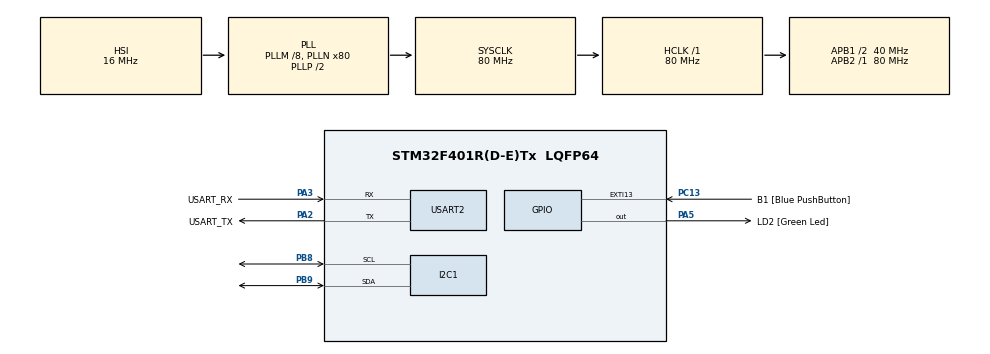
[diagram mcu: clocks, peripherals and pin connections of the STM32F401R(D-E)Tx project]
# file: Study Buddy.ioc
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Mcu.Family=STM32F4
Mcu.Name=STM32F401R(D-E)Tx
Mcu.Package=LQFP64
NVIC.PriorityGroup=NVIC_PRIORITYGROUP_0
NVIC.RTC_Alarm_IRQn=true\:0\:0\:false\:false\:true\:true\:true\:true
PA13.GPIO_Label=TMS
PA13.Mode=Serial_Wire
PA13.Signal=SYS_JTMS-SWDIO
PA14.GPIO_Label=TCK
PA14.Mode=Serial_Wire
PA14.Signal=SYS_JTCK-SWCLK
PA2.GPIO_Label=USART_TX
PA2.GPIO_Mode=GPIO_MODE_AF_PP
PA2.GPIO_PuPd=GPIO_NOPULL
PA2.GPIO_Speed=GPIO_SPEED_FREQ_LOW
PA2.Mode=Asynchronous
PA2.Signal=USART2_TX
PA3.GPIO_Label=USART_RX
PA3.GPIO_Mode=GPIO_MODE_AF_PP
PA3.GPIO_PuPd=GPIO_NOPULL
PA3.GPIO_Speed=GPIO_SPEED_FREQ_LOW
PA3.Mode=Asynchronous
PA3.Signal=USART2_RX
PA5.GPIO_Label=LD2 [Green Led]
PA5.GPIO_Mode=GPIO_MODE_OUTPUT_PP
PA5.GPIO_PuPd=GPIO_NOPULL
PA5.GPIO_Speed=GPIO_SPEED_FREQ_LOW
PA5.Signal=GPIO_Output
PB3.GPIO_Label=SWO
PB3.Signal=SYS_JTDO-SWO
PB8.Mode=I2C
PB8.Signal=I2C1_SCL
PB9.Mode=I2C
PB9.Signal=I2C1_SDA
PC13-ANTI_TAMP.GPIO_Label=B1 [Blue PushButton]
PC13-ANTI_TAMP.GPIO_ModeDefaultEXTI=GPIO_MODE_IT_FALLING
PC13-ANTI_TAMP.GPIO_PuPd=GPIO_NOPULL
PC13-ANTI_TAMP.Signal=GPXTI13
PC14-OSC32_IN.Mode=LSE-External-Oscillator
PC14-OSC32_IN.Signal=RCC_OSC32_IN
PC15-OSC32_OUT.Mode=LSE-External-Oscillator
PC15-OSC32_OUT.Signal=RCC_OSC32_OUT
PH0\ -\ OSC_IN.Mode=HSE-External-Oscillator
PH0\ -\ OSC_IN.Signal=RCC_OSC_IN
PH1\ -\ OSC_OUT.Mode=HSE-External-Oscillator
PH1\ -\ OSC_OUT.Signal=RCC_OSC_OUT
ProjectManager.HeapSize=0x200
ProjectManager.StackSize=0x400
ProjectManager.TargetToolchain=STM32CubeIDE
RCC.48MHZClocksFreq_Value=22857142.85714286
RCC.AHBFreq_Value=80000000
RCC.APB1CLKDivider=RCC_HCLK_DIV2
RCC.APB1Freq_Value=40000000
RCC.APB1TimFreq_Value=80000000
RCC.APB2Freq_Value=80000000
RCC.APB2TimFreq_Value=80000000
RCC.CortexFreq_Value=80000000
RCC.HCLKFreq_Value=80000000
RCC.HSE_VALUE=8000000
RCC.HSI_VALUE=16000000
RCC.PLLM=8
RCC.PLLN=80
RCC.PLLQ=7
RCC.SYSCLKFreq_VALUE=80000000
RCC.SYSCLKSource=RCC_SYSCLKSOURCE_PLLCLK
RCC.VCOOutputFreq_Value=160000000
RTC.Alarm=RTC_ALARM_A
RTC.Seconds_A=1
USART2.VirtualMode=VM_ASYNC
VP_RTC_VS_RTC_Activate.Mode=RTC_Enabled
VP_RTC_VS_RTC_Alarm_A_Intern.Mode=Alarm A
VP_RTC_VS_RTC_Calendar.Mode=RTC_Calendar
board=NUCLEO-F401RE

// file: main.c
/* USER CODE BEGIN Header */
/**
  ******************************************************************************
  * @file           : main.c
  * @brief          : Main program body
  ******************************************************************************
  * @attention
  *
  * Copyright (c) 2024 STMicroelectronics.
  * All rights reserved.
  *
  * This software is licensed under terms that can be found in the LICENSE file
  * in the root directory of this software component.
  * If no LICENSE file comes with this software, it is provided AS-IS.
  *
  ******************************************************************************
  */
/* USER CODE END Header */
#include "main.h"

/* USER CODE BEGIN Includes */
#include <string.h>
#include <stdio.h>
#include "stdio.h"
//#include "liquidcrystal_i2c.h"
#include "i2c-lcd.h"

/* USER CODE END Includes */

I2C_HandleTypeDef hi2c1;

RTC_HandleTypeDef hrtc;

UART_HandleTypeDef huart2;

/* USER CODE BEGIN PV */
char msg[20];

/* USER CODE END PV */

void SystemClock_Config(void);
static void MX_GPIO_Init(void);
static void MX_USART2_UART_Init(void);
static void MX_RTC_Init(void);
static void MX_I2C1_Init(void);

int main(void)
{

  /* MCU Configuration--------------------------------------------------------*/

  /* Reset of all peripherals, Initializes the Flash interface and the Systick. */
  HAL_Init();

  /* Configure the system clock */
  SystemClock_Config();

  /* Initialize all configured peripherals */
  MX_GPIO_Init();
  MX_USART2_UART_Init();
  MX_RTC_Init();
  MX_I2C1_Init();
  /* USER CODE BEGIN 2 */

//  LCD_Init(); // initialize LCD
//  LCD_Command(0x80);
//  LCD_Print("Hello, World");

//  setRTCAlarm(&hrtc, 15, 0, 0); // sets alarm

//  HD44780_Init(2);
//    HD44780_Clear();
//    HD44780_SetCursor(0,0);
//    HD44780_PrintStr("HELLO");
//    HD44780_SetCursor(10,1);
//    HD44780_PrintStr("WORLD");
//    HAL_Delay(2000);
//
//    HD44780_Clear();
//    HD44780_SetCursor(0,0);
//    HD44780_PrintStr("HELLO");
//    HAL_Delay(2000);
//    HD44780_NoBacklight();
//    HAL_Delay(2000);
//    HD44780_Backlight();
//
//    HAL_Delay(2000);
//    HD44780_Cursor();
//    HAL_Delay(2000);
//    HD44780_Blink();
//    HAL_Delay(5000);
//    HD44780_NoBlink();
//    HAL_Delay(2000);
//    HD44780_NoCursor();
//    HAL_Delay(2000);
//
//    HD44780_NoDisplay();
//    HAL_Delay(2000);
//    HD44780_Display();
//
//    HD44780_Clear();
//    HD44780_SetCursor(0,0);
//    HD44780_PrintStr("Learning STM32 with LCD is fun :-)");
//
//    for(int x=0; x<40; x=x+1)
//    {
//      HD44780_ScrollDisplayLeft();  //HD44780_ScrollDisplayRight();
//      HAL_Delay(500);
//    }
//
//    char snum[5];
//    for ( int x = 1; x <= 200 ; x++ )
//    {
//    	sprintf(snum,"%d", x);
//    	HD44780_Clear();
//    	HD44780_SetCursor(0,0);
//    	HD44780_PrintStr(snum);
//    	HAL_Delay (1000);
//    }

  /* USER CODE END 2 */

  /* Infinite loop */
  /* USER CODE BEGIN WHILE */
  while (1)
  {
	  printCurrentTime();
    /* USER CODE END WHILE */

  }
}

void SystemClock_Config(void)
{
  RCC_OscInitTypeDef RCC_OscInitStruct = {0};
  RCC_ClkInitTypeDef RCC_ClkInitStruct = {0};

  /** Configure the main internal regulator output voltage
  */
  __HAL_RCC_PWR_CLK_ENABLE();
  __HAL_PWR_VOLTAGESCALING_CONFIG(PWR_REGULATOR_VOLTAGE_SCALE2);

  /** Initializes the RCC Oscillators according to the specified parameters
  * in the RCC_OscInitTypeDef structure.
  */
  RCC_OscInitStruct.OscillatorType = RCC_OSCILLATORTYPE_HSI|RCC_OSCILLATORTYPE_LSI;
  RCC_OscInitStruct.HSIState = RCC_HSI_ON;
  RCC_OscInitStruct.HSICalibrationValue = RCC_HSICALIBRATION_DEFAULT;
  RCC_OscInitStruct.LSIState = RCC_LSI_ON;
  RCC_OscInitStruct.PLL.PLLState = RCC_PLL_ON;
  RCC_OscInitStruct.PLL.PLLSource = RCC_PLLSOURCE_HSI;
  RCC_OscInitStruct.PLL.PLLM = 8;
  RCC_OscInitStruct.PLL.PLLN = 80;
  RCC_OscInitStruct.PLL.PLLP = RCC_PLLP_DIV2;
  RCC_OscInitStruct.PLL.PLLQ = 7;
  if (HAL_RCC_OscConfig(&RCC_OscInitStruct) != HAL_OK)
  {
    Error_Handler();
  }

  /** Initializes the CPU, AHB and APB buses clocks
  */
  RCC_ClkInitStruct.ClockType = RCC_CLOCKTYPE_HCLK|RCC_CLOCKTYPE_SYSCLK
                              |RCC_CLOCKTYPE_PCLK1|RCC_CLOCKTYPE_PCLK2;
  RCC_ClkInitStruct.SYSCLKSource = RCC_SYSCLKSOURCE_PLLCLK;
  RCC_ClkInitStruct.AHBCLKDivider = RCC_SYSCLK_DIV1;
  RCC_ClkInitStruct.APB1CLKDivider = RCC_HCLK_DIV2;
  RCC_ClkInitStruct.APB2CLKDivider = RCC_HCLK_DIV1;

  if (HAL_RCC_ClockConfig(&RCC_ClkInitStruct, FLASH_LATENCY_2) != HAL_OK)
  {
    Error_Handler();
  }
}

static void MX_I2C1_Init(void)
{

  hi2c1.Instance = I2C1;
  hi2c1.Init.ClockSpeed = 100000;
  hi2c1.Init.DutyCycle = I2C_DUTYCYCLE_2;
  hi2c1.Init.OwnAddress1 = 0;
  hi2c1.Init.AddressingMode = I2C_ADDRESSINGMODE_7BIT;
  hi2c1.Init.DualAddressMode = I2C_DUALADDRESS_DISABLE;
  hi2c1.Init.OwnAddress2 = 0;
  hi2c1.Init.GeneralCallMode = I2C_GENERALCALL_DISABLE;
  hi2c1.Init.NoStretchMode = I2C_NOSTRETCH_DISABLE;
  if (HAL_I2C_Init(&hi2c1) != HAL_OK)
  {
    Error_Handler();
  }

}

static void MX_RTC_Init(void)
{

  RTC_TimeTypeDef sTime = {0};
  RTC_DateTypeDef sDate = {0};
  RTC_AlarmTypeDef sAlarm = {0};

  /** Initialize RTC Only
  */
  hrtc.Instance = RTC;
  hrtc.Init.HourFormat = RTC_HOURFORMAT_24;
  hrtc.Init.AsynchPrediv = 127;
  hrtc.Init.SynchPrediv = 255;
  hrtc.Init.OutPut = RTC_OUTPUT_DISABLE;
  hrtc.Init.OutPutPolarity = RTC_OUTPUT_POLARITY_HIGH;
  hrtc.Init.OutPutType = RTC_OUTPUT_TYPE_OPENDRAIN;
  if (HAL_RTC_Init(&hrtc) != HAL_OK)
  {
    Error_Handler();
  }

  /** Initialize RTC and set the Time and Date
  */
  sTime.Hours = 8;
  sTime.Minutes = 21;
  sTime.Seconds = 0x0;
  sTime.DayLightSaving = RTC_DAYLIGHTSAVING_NONE;
  sTime.StoreOperation = RTC_STOREOPERATION_RESET;
  if (HAL_RTC_SetTime(&hrtc, &sTime, RTC_FORMAT_BCD) != HAL_OK)
  {
    Error_Handler();
  }
  sDate.WeekDay = RTC_WEEKDAY_MONDAY;
  sDate.Month = RTC_MONTH_JANUARY;
  sDate.Date = 0x1;
  sDate.Year = 0x0;

  if (HAL_RTC_SetDate(&hrtc, &sDate, RTC_FORMAT_BCD) != HAL_OK)
  {
    Error_Handler();
  }

  /** Enable the Alarm A
  */
  sAlarm.AlarmTime.Hours = 0x0;
  sAlarm.AlarmTime.Minutes = 0x0;
  sAlarm.AlarmTime.Seconds = 0x1;
  sAlarm.AlarmTime.SubSeconds = 0x0;
  sAlarm.AlarmTime.DayLightSaving = RTC_DAYLIGHTSAVING_NONE;
  sAlarm.AlarmTime.StoreOperation = RTC_STOREOPERATION_RESET;
  sAlarm.AlarmMask = RTC_ALARMMASK_NONE;
  sAlarm.AlarmSubSecondMask = RTC_ALARMSUBSECONDMASK_ALL;
  sAlarm.AlarmDateWeekDaySel = RTC_ALARMDATEWEEKDAYSEL_DATE;
  sAlarm.AlarmDateWeekDay = 0x1;
  sAlarm.Alarm = RTC_ALARM_A;
  if (HAL_RTC_SetAlarm_IT(&hrtc, &sAlarm, RTC_FORMAT_BCD) != HAL_OK)
  {
    Error_Handler();
  }

}

static void MX_USART2_UART_Init(void)
{

  huart2.Instance = USART2;
  huart2.Init.BaudRate = 115200;
  huart2.Init.WordLength = UART_WORDLENGTH_8B;
  huart2.Init.StopBits = UART_STOPBITS_1;
  huart2.Init.Parity = UART_PARITY_NONE;
  huart2.Init.Mode = UART_MODE_TX_RX;
  huart2.Init.HwFlowCtl = UART_HWCONTROL_NONE;
  huart2.Init.OverSampling = UART_OVERSAMPLING_16;
  if (HAL_UART_Init(&huart2) != HAL_OK)
  {
    Error_Handler();
  }

}

static void MX_GPIO_Init(void)
{
  GPIO_InitTypeDef GPIO_InitStruct = {0};

  /* GPIO Ports Clock Enable */
  __HAL_RCC_GPIOC_CLK_ENABLE();
  __HAL_RCC_GPIOH_CLK_ENABLE();
  __HAL_RCC_GPIOA_CLK_ENABLE();
  __HAL_RCC_GPIOB_CLK_ENABLE();

  /*Configure GPIO pin Output Level */
  HAL_GPIO_WritePin(LD2_GPIO_Port, LD2_Pin, GPIO_PIN_RESET);

  /*Configure GPIO pin : B1_Pin */
  GPIO_InitStruct.Pin = B1_Pin;
  GPIO_InitStruct.Mode = GPIO_MODE_IT_FALLING;
  GPIO_InitStruct.Pull = GPIO_NOPULL;
  HAL_GPIO_Init(B1_GPIO_Port, &GPIO_InitStruct);

  /*Configure GPIO pin : LD2_Pin */
  GPIO_InitStruct.Pin = LD2_Pin;
  GPIO_InitStruct.Mode = GPIO_MODE_OUTPUT_PP;
  GPIO_InitStruct.Pull = GPIO_NOPULL;
  GPIO_InitStruct.Speed = GPIO_SPEED_FREQ_LOW;
  HAL_GPIO_Init(LD2_GPIO_Port, &GPIO_InitStruct);

}

/* USER CODE BEGIN 4 */
void printCurrentTime(){
	// prints the current time to the console (debugging purposes)
	RTC_TimeTypeDef currentTime;
	RTC_DateTypeDef currentDate;

	HAL_RTC_GetTime(&hrtc, &currentTime, FORMAT_BIN);
	HAL_RTC_GetDate(&hrtc, &currentDate, FORMAT_BIN);

	sprintf(msg, "Time: %02d:%02d:%02d\r\n",
			// formats time in hh:mm:ss
			currentTime.Hours, currentTime.Minutes, currentTime.Seconds);

	HAL_UART_Transmit(&huart2, (uint8_t*)msg, strlen(msg), HAL_MAX_DELAY);
	LCD_Init(); // initialize LCD
	LCD_Command(0x80);
	LCD_Print(msg);
}

void setRTCAlarm(RTC_HandleTypeDef *hrtc, int sec, int min, int hour){
	// sets an alarm to specified time
	RTC_AlarmTypeDef sAlarm;
	RTC_TimeTypeDef currentTime;

	HAL_RTC_GetTime(hrtc, &currentTime, FORMAT_BIN); // gets current time

	sAlarm.AlarmTime.Seconds = sec;
	sAlarm.AlarmTime.Minutes = min;
	sAlarm.AlarmTime.Hours = hour;
	if(sAlarm.AlarmTime.Seconds >= 60){ // handles second overflow
		sAlarm.AlarmTime.Seconds -= 60;
		++sAlarm.AlarmTime.Minutes;
	}
	if(sAlarm.AlarmTime.Minutes >= 60){ // handles minute overflow
			sAlarm.AlarmTime.Minutes -= 60;
			++sAlarm.AlarmTime.Hours;
	}
	if(sAlarm.AlarmTime.Hours >= 24){ // handles hour overflow
			sAlarm.AlarmTime.Hours -= 24;
	}

	sAlarm.AlarmMask = RTC_ALARMMASK_DATEWEEKDAY; // ignores date
	sAlarm.Alarm = RTC_ALARM_A;

	while(HAL_RTC_SetAlarm_IT(hrtc, &sAlarm, FORMAT_BIN) != HAL_OK){}
	// keeps on setting alarm until it works
}

void setRTCTimer(RTC_HandleTypeDef *hrtc, int sec, int min, int hour){
	// sets an alarm to specified time
	RTC_AlarmTypeDef sAlarm;
	RTC_TimeTypeDef currentTime;

	HAL_RTC_GetTime(hrtc, &currentTime, FORMAT_BIN); // gets current time

	sAlarm.AlarmTime.Seconds = currentTime.Seconds + sec;
	sAlarm.AlarmTime.Minutes = currentTime.Minutes + min;
	sAlarm.AlarmTime.Hours = currentTime.Hours + hour;
	if(sAlarm.AlarmTime.Seconds >= 60){ // handles second overflow
		sAlarm.AlarmTime.Seconds -= 60;
		++sAlarm.AlarmTime.Minutes;
	}
	if(sAlarm.AlarmTime.Minutes >= 60){ // handles minute overflow
			sAlarm.AlarmTime.Minutes -= 60;
			++sAlarm.AlarmTime.Hours;
	}
	if(sAlarm.AlarmTime.Hours >= 24){ // handles hour overflow
			sAlarm.AlarmTime.Hours -= 24;
	}

	sAlarm.AlarmMask = RTC_ALARMMASK_DATEWEEKDAY; // ignores date
	sAlarm.Alarm = RTC_ALARM_A;

	while(HAL_RTC_SetAlarm_IT(hrtc, &sAlarm, FORMAT_BIN) != HAL_OK){}
	// keeps on setting alarm until it works
}

void HAL_RTC_AlarmAEventCallback(RTC_HandleTypeDef *hrtc){
	HAL_GPIO_TogglePin(GPIOA, GPIO_PIN_5); // toggles pin on alarm

}

/* USER CODE END 4 */

void Error_Handler(void)
{
  __disable_irq();
  while (1)
  {
  }
}
